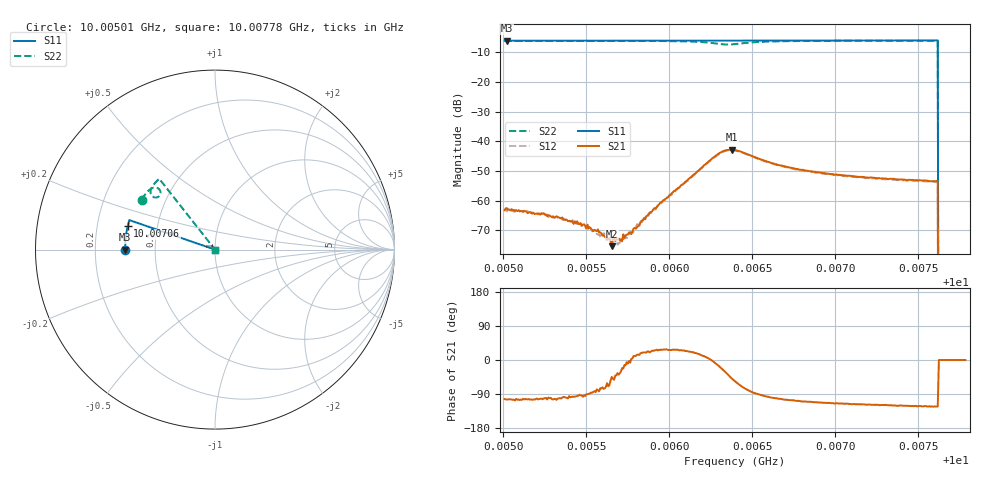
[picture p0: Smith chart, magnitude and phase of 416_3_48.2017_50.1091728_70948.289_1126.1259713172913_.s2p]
#  HZ  S  RI  R  50.00
! Rohde & Schwarz Vector Network Analyzer
! Rohde-Schwarz,ZNB20-2Port,1311601062101988,3.16
! Created: UTC 3/20/2024, 11:54:44 AM
! freq[Hz]  re:S11  im:S11  re:S21  im:S21  re:S12  im:S12  re:S22  im:S22
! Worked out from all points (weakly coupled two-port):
!   401 points, 10.00501 GHz to 10.00778 GHz, reference 50 ohm
!   highest |S21| = -42.80 dB at 10.00638 GHz (marker M1); lowest = -75.4 dB at 10.00565 GHz (marker M2)
!   lowest |S11| = -6.0 dB at 10.00502 GHz (marker M3), VSWR 3.00, Z = 16.7 - j0.0409 ohm
!   |S11| at or under -10 dB: 10.00762 GHz to end of sweep
!   |S22| runs from - to -6.0 dB; largest |S21 - S12| = 0.00046
!   S11 on the Smith chart (normalised r, x): 10.00501 GHz: 0.33, -0.00; 10.00706 GHz: 0.33, +0.12; 10.00778 GHz: 1.00, +0.00
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1.0005009e10  -0.4996 -0.00175  -0.000158 -0.00067  -0.000125 -0.000673  -0.4092 0.2781
1.0005023e10  -0.4996 -0.00092  -0.000189 -0.000718  -0.000131 -0.000645  -0.4086 0.2788
1.0005245e10  -0.4999 0.0136  -0.000117 -0.000598  -0.000114 -0.000554  -0.4001 0.292
1.0005474e10  -0.4998 0.0285  -2.23e-05 -0.000371  -5.4e-06 -0.000373  -0.3904 0.3057
1.0005578e10  -0.4996 0.0351  3.67e-05 -0.000287  6.64e-05 -0.000258  -0.3857 0.3119
1.000564e10  -0.4992 0.0392  9.25e-05 -0.000209  0.000104 -0.000183  -0.3824 0.3157
1.0005654e10  -0.4992 0.0402  0.000121 -0.000119  0.000129 -0.000194  -0.3818 0.3165
1.0005703e10  -0.4991 0.0433  0.000176 -0.000124  0.00018 -7.53e-05  -0.3792 0.3195
1.0005772e10  -0.4987 0.0478  0.000271 1.37e-05  0.000294 -3.47e-06  -0.3751 0.324
1.0005807e10  -0.4986 0.0502  0.000345 8.55e-05  0.000388 9.04e-05  -0.3729 0.3263
1.0005939e10  -0.4982 0.0586  0.000767 0.000389  0.000768 0.000401  -0.3632 0.3348
1.0006278e10  -0.4952 0.0805  0.0056 -0.000834  0.00551 -0.000515  -0.3061 0.3293
1.0006327e10  -0.4944 0.0834  0.00613 -0.00311  0.00612 -0.00274  -0.3048 0.3089
1.0006376e10  -0.4944 0.0862  0.00482 -0.00541  0.00503 -0.00499  -0.3196 0.2923
1.0006396e10  -0.4942 0.0873  0.00393 -0.00593  0.00414 -0.0056  -0.3284 0.29
1.0006653e10  -0.4921 0.1038  -0.000795 -0.00392  -0.000635 -0.0039  -0.3582 0.3318
1.0006861e10  -0.4895 0.117  -0.0011 -0.00289  -0.000946 -0.00288  -0.3489 0.3519
1.0007062e10  -0.4869 0.1298  -0.00113 -0.0024  -0.00102 -0.00238  -0.3388 0.3657
1.0007326e10  -0.4826 0.1461  -0.00115 -0.00202  -0.00102 -0.00204  -0.3256 0.3806
1.0007603e10  -0.4777 0.1634  -0.00113 -0.00179  -0.00103 -0.00181  -0.3114 0.394
1.0007638e10  0 0  0 0  0 0  0 0
1.0007784e10  0 0  0 0  0 0  0 0
